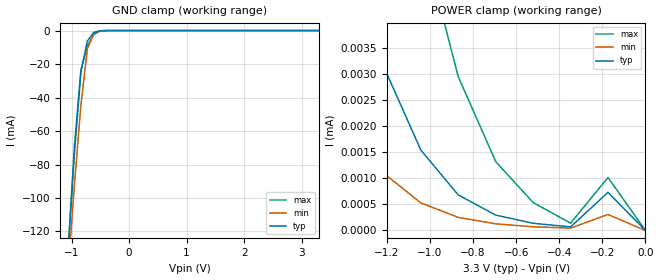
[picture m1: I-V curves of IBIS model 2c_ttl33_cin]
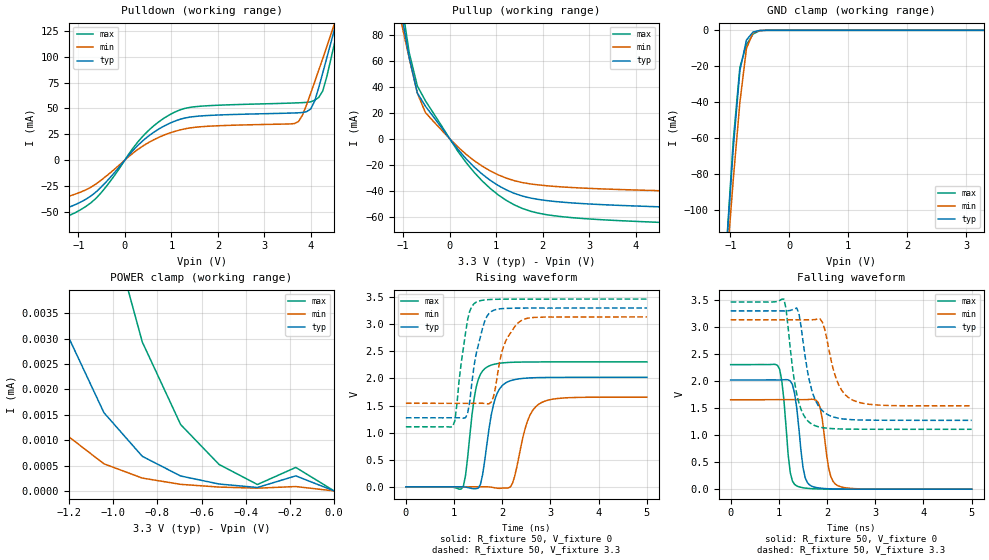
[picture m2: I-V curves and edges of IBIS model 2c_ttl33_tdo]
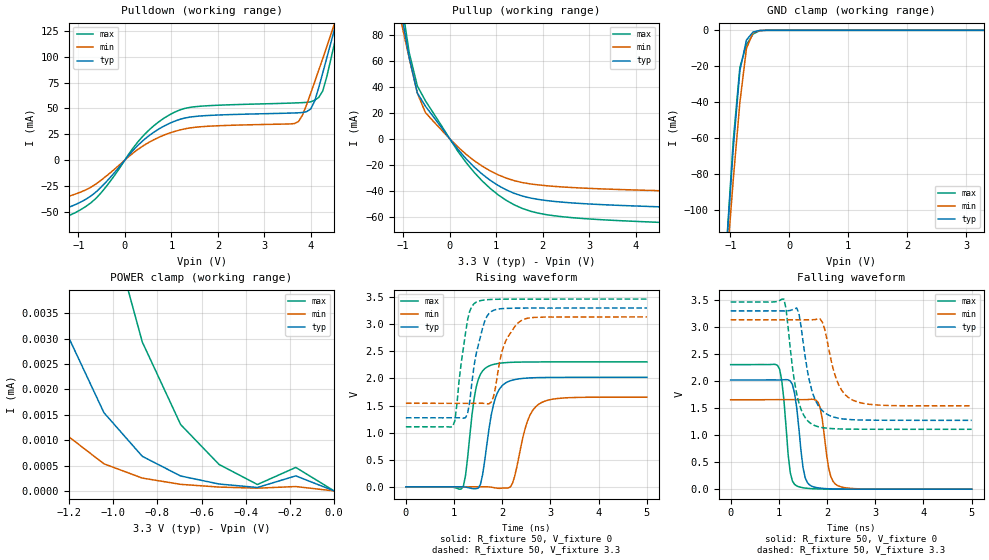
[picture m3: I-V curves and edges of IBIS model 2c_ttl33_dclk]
[IBIS Ver] 3.2
[File Name] modexp.ibs
[File Rev] 1.6
[Date] May 05, 2013
[Source] Altera, Quartus II 32-bit 12.1
[Notes]
| The models are designated as "Final" and have been
| correlated against physical device operation.
Unused IOs which have been assigned as tri-stated inputs or
as outputs driving any signal in Quartus II are represented by the NC.
[Disclaimer] Data is for modeling purposes only and is not guaranteed.
[Copyright] Copyright (C) 1991-2012 Altera Corporation
[Component] EP2C50F484C6_ModExp
[Manufacturer]  Altera Corporation
[Package]
| RLC values are for 484 FBGA package
|variable  typ  min  max
R_pkg  231.00m   125.00m   327.00m
L_pkg  4.00nH   2.50nH   5.32nH
C_pkg  0.73pF   0.53pF   0.92pF
[Pin]  signal_name   model_name   R_pin   L_pin   C_pin
A1   GND   GND
A2   VCCIO3   POWER
A21   VCCIO4   POWER
A22   GND   GND
AA1   VCCIO1   POWER
AA2   GND   GND
AA21   GND   GND
AA22   VCCIO6   POWER
AB1   GND   GND
AB2   VCCIO8   POWER
AB21   VCCIO7   POWER
AB22   GND   GND
B1   VCCIO2   POWER
B2   GND   GND
B21   GND   GND
B22   VCCIO5   POWER
C5   GND   GND
C6   VCCIO3   POWER
C8   GND   GND
C11   VCCIO3   POWER
C12   VCCIO4   POWER
C15   GND   GND
D10   GND   GND
D13   GND   GND
D17   VCCIO4   POWER
D18   GND   GND
E5   VCCD_PLL3   POWER
E6   VCCA_PLL3   POWER
E10   VCCIO3   POWER
E13   VCCIO4   POWER
E16   NC   NC
E17   GND_PLL2   GND
F5   GND_PLL3   GND
F6   GND_PLL3   GND
F7   NC   NC
F16   VCCA_PLL2   POWER
F17   VCCD_PLL2   POWER
F18   GND_PLL2   GND
F19   GND   GND
G4   GND   GND
G7   VCCINT   POWER
G8   VCCINT   POWER
G9   VCCIO3   POWER
G10   GND   GND
G11   GND   GND
G12   VCCINT   POWER
G13   GND   GND
G14   VCCIO4   POWER
G15   GND   GND
G16   VCCINT   POWER
G19   VCCIO5   POWER
H7   VCCINT   POWER
H8   VCCINT   POWER
H9   GND   GND
H10   GND   GND
H11   GND   GND
H12   VCCINT   POWER
H13   VCCINT   POWER
H14   GND   GND
H15   GND   GND
H16   VCCINT   POWER
H20   GND   GND
J7   VCCIO2   POWER
J8   GND   GND
J9   GND   GND
J10   VCCINT   POWER
J11   VCCINT   POWER
J12   VCCINT   POWER
J13   VCCINT   POWER
J14   GND   GND
J15   GND   GND
J16   VCCIO5   POWER
K1   nCE   2c_ttl33_cin
K2   TCK   2c_ttl33_cin
K3   GND   GND
K4   DATA0   2c_ttl33_cin
K5   TDI   2c_ttl33_cin
K6   TMS   2c_ttl33_cin
K7   GND   GND
K8   VCCINT   POWER
K9   VCCINT   POWER
K10   GND   GND
K11   GND   GND
K12   GND   GND
K13   GND   GND
K14   VCCINT   POWER
K15   GND   GND
K16   GND   GND
K19   GND   GND
L3   VCCIO2   POWER
L4   nCONFIG   2c_ttl33_cin
L5   TDO   2c_ttl33_tdo
L6   DCLK   2c_ttl33_dclk
L7   VCCINT   POWER
L8   VCCINT   POWER
L9   VCCINT   POWER
L10   GND   GND
L11   GND   GND
L12   GND   GND
L13   GND   GND
L14   VCCINT   POWER
L15   GND   GND
L16   VCCINT   POWER
L20   VCCIO5   POWER
M1   clk   2c_ttl33_rin
M2   reset   2c_ttl33_rin
M3   VCCIO1   POWER
M4   GND   GND
M5   res_out[29]   2c_ttl33_rio_d24
M6   res_out[8]   2c_ttl33_rio_d24
M7   GND   GND
M8   GND   GND
M9   VCCINT   POWER
M10   GND   GND
M11   GND   GND
M12   GND   GND
M13   GND   GND
M14   VCCINT   POWER
M15   VCCINT   POWER
M16   GND   GND
M17   MSEL0   2c_ttl33_cin
M20   VCCIO6   POWER
N1   res_out[7]   2c_ttl33_rio_d24
N2   res_out[30]   2c_ttl33_rio_d24
N3   res_out[26]   2c_ttl33_rio_d24
N4   res_out[10]   2c_ttl33_rio_d24
N5   res_out[3]   2c_ttl33_rio_d24
N6   res_out[12]   2c_ttl33_rio_d24
N7   GND   GND
N8   GND   GND
N9   VCCINT   POWER
N10   GND   GND
N11   GND   GND
N12   GND   GND
N13   GND   GND
N14   VCCINT   POWER
N15   VCCINT   POWER
N16   GND   GND
N17   MSEL1   2c_ttl33_cin
N18   CONF_DONE   2c_ttl33_cfdone
N19   GND   GND
N20   nSTATUS   2c_ttl33_nstatus
P1   res_out[9]   2c_ttl33_rio_d24
P2   res_out[22]   2c_ttl33_rio_d24
P3   res_out[24]   2c_ttl33_rio_d24
P4   res_out[23]   2c_ttl33_rio_d24
P5   res_out[25]   2c_ttl33_rio_d24
P6   res_out[15]   2c_ttl33_rio_d24
P7   VCCIO1   POWER
P8   GND   GND
P9   GND   GND
P10   VCCINT   POWER
P11   VCCINT   POWER
P12   VCCINT   POWER
P13   VCCINT   POWER
P14   VCCINT   POWER
P15   GND   GND
P16   VCCIO6   POWER
R1   res_out[0]   2c_ttl33_rio_d24
R2   res_out[18]   2c_ttl33_rio_d24
R3   GND   GND
R4   res_out[21]   2c_ttl33_rio_d24
R5   res_out[28]   2c_ttl33_rio_d24
R6   res_out[27]   2c_ttl33_rio_d24
R7   VCCINT   POWER
R8   VCCINT   POWER
R9   GND   GND
R10   VCCINT   POWER
R11   GND   GND
R12   VCCINT   POWER
R13   GND   GND
R14   GND   GND
R15   VCCINT   POWER
R16   VCCINT   POWER
T1   res_out[20]   2c_ttl33_rio_d24
T2   res_out[31]   2c_ttl33_rio_d24
T3   res_out[17]   2c_ttl33_rio_d24
T4   VCCIO1   POWER
T5   res_out[13]   2c_ttl33_rio_d24
T6   res_out[14]   2c_ttl33_rio_d24
T7   VCCINT   POWER
T8   VCCINT   POWER
T9   VCCIO8   POWER
T10   GND   GND
T11   GND   GND
T12   VCCINT   POWER
T13   GND   GND
T14   VCCIO7   POWER
T15   VCCINT   POWER
T16   GND   GND
T17   GND_PLL4   GND
T19   VCCIO6   POWER
T20   GND   GND
U1   res_out[5]   2c_ttl33_rio_d24
U2   res_out[6]   2c_ttl33_rio_d24
U3   res_out[16]   2c_ttl33_rio_d24
U5   GND_PLL1   GND
U6   VCCD_PLL1   POWER
U7   VCCA_PLL1   POWER
U16   VCCA_PLL4   POWER
U17   VCCD_PLL4   POWER
V1   res_out[19]   2c_ttl33_rio_d24
V2   res_out[4]   2c_ttl33_rio_d24
V3   GND   GND
V5   GND_PLL1   GND
V6   GND   GND
V7   NC   NC
V10   VCCIO8   POWER
V13   VCCIO7   POWER
V16   NC   NC
V17   GND   GND
V18   GND_PLL4   GND
W1   res_out[2]   2c_ttl33_rio_d24
W2   res_out[1]   2c_ttl33_rio_d24
W6   VCCIO8   POWER
W10   GND   GND
W13   GND   GND
W17   VCCIO7   POWER
W19   GND   GND
W20   ~LVDS142p/nCEO~   2c_ttl33_nceo
Y1   res_out[11]   2c_ttl33_rio_d24
Y8   GND   GND
Y11   VCCIO8   POWER
Y12   VCCIO7   POWER
Y15   GND   GND
| Models and submodels in the file (8): 2c_ttl33_cin (Input), 2c_ttl33_tdo (Output), 2c_ttl33_dclk (I/O), 2c_ttl33_rin (Input), 2c_ttl33_rio_d24 (I/O), 2c_ttl33_cfdone (I/O_open_drain), 2c_ttl33_nstatus (I/O_open_drain), 2c_ttl33_nceo (Output)
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[Model] 2c_ttl33_cin
Model_type Input
Vinl  = 0.8V
Vinh  = 1.7V
C_comp  3.8pF   NA   NA
[Temperature Range] 25   85   0
[Voltage Range]   3.3   3.135   3.465
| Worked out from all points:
|   GND clamp passes 1 mA (typ) near -0.61 V on its own axis
[GND Clamp]
| voltage   I (typ)   I (min)   I (max)
-3.3V     -1.525A    -1.347A    -1.631A
-1.063V   -132.4mA   -144.4mA   -131.8mA
-950.8mV  -72.91mA   -91.85mA   -68.52mA
-839mV    -25.14mA   -44.53mA   -23.44mA
-727.1mV  -6.162mA   -11.17mA   -9.106mA
-615.2mV  -1.09mA    -1.592mA   -2.362mA
-503.4mV  -85.58uA   -161.1uA   -206uA
-391.5mV  -4.442uA   -9.192uA   -8.484uA
3.3V      11.77nA    322.6nA    -115.7nA
[POWER Clamp]
| voltage   I (typ)   I (min)   I (max)
-3.3V     85.54uA    53.92uA    123.2uA
-1.563V   9.367uA    3.905uA    20.91uA
-1.389V   5.739uA    2.168uA    14.78uA
-1.216V   3.156uA    1.102uA    9.69uA
-1.042V   1.541uA    528.8nA    5.723uA
-868.4mV  681.9nA    251nA      2.949uA
-694.7mV  294.9nA    127.2nA    1.321uA
-521.1mV  137.5nA    71nA       535.5nA
-347.4mV  69.4nA     45.46nA    140.2nA
-173.7mV  730.6nA    306.9nA    1.016uA
0V        0A         0A         0A
[Model] 2c_ttl33_tdo
Model_type Output
Vmeas = 1.5675V
Rref  = 1M
Cref  = 0pF
Vref  = 0V
C_comp  3.8pF   NA   NA
[Temperature Range] 25   85   0
[Voltage Range]   3.3   3.135   3.465
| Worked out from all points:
|   slope of the pulldown table from 0 to 0.495 V, typ, clamps not added: 21.8 ohm
|   slope of the pullup table from 0 to 0.495 V, typ, clamps not added: 24 ohm
|   GND clamp passes 1 mA (typ) near -0.62 V on its own axis
|   rising waveform, R_fixture 50, V_fixture 0: 20-80 % time 227ps typ, 283ps min, 189ps max; typ from 0 V to 2.02 V
|   falling waveform, R_fixture 50, V_fixture 0: 20-80 % time 149ps typ, 155ps min, 135ps max; typ from 2.02 V to 0 V
|   rising waveform, R_fixture 50, V_fixture 3.3: 20-80 % time 243ps typ, 290ps min, 200ps max; typ from 1.27 V to 3.3 V
|   falling waveform, R_fixture 50, V_fixture 3.3: 20-80 % time 265ps typ, 297ps min, 231ps max; typ from 3.3 V to 1.27 V
[GND Clamp]
| voltage   I (typ)   I (min)   I (max)
-3.3V     -1.379A    -1.218A    -1.475A
-1.063V   -119.5mA   -130.7mA   -118.6mA
-950.8mV  -65.61mA   -83.07mA   -61.36mA
-839mV    -22.42mA   -40.22mA   -20.68mA
-727.1mV  -5.406mA   -10.03mA   -7.969mA
-615.2mV  -953.2uA   -1.404mA   -2.067mA
-503.4mV  -74.89uA   -141.3uA   -180.2uA
-391.5mV  -3.887uA   -8.056uA   -7.422uA
3.3V      9.506nA    162.7nA    -15.59nA
[Pulldown]
| voltage   I (typ)   I (min)   I (max)
-3.3V     -55mA      -43.5mA    -62mA
-1.958V   -53.99mA   -41.93mA   -63.1mA
-1.063V   -43.09mA   -32.87mA   -50.85mA
-503.4mV  -25.88mA   -19.22mA   -31.32mA
503.4mV   23.02mA    16.76mA    28.38mA
1.175V    39.25mA    29mA       48.35mA
3.647V    45.56mA    35.32mA    55.23mA
3.995V    49.34mA    64.53mA    56.37mA
4.168V    70.08mA    86.98mA    60.63mA
4.516V    128.1mA    133.1mA    114.8mA
4.603V    142.7mA    144.8mA    132mA
6.6V      483.6mA    425.8mA    528.2mA
[POWER Clamp]
| voltage   I (typ)   I (min)   I (max)
-3.3V     85.54uA    53.94uA    123.1uA
-1.563V   9.367uA    3.921uA    20.9uA
-1.389V   5.741uA    2.184uA    14.76uA
-1.216V   3.156uA    1.117uA    9.675uA
-1.042V   1.542uA    534.4nA    5.706uA
-868.4mV  681.9nA    253.2nA    2.935uA
-694.7mV  294.1nA    129.7nA    1.307uA
-521.1mV  136.2nA    76.02nA    522nA
-347.4mV  67.51nA    54.2nA     126.3nA
-173.7mV  296.7nA    86.25nA    463.4nA
0V        0A         0A         0A
[Pullup]
| voltage   I (typ)   I (min)   I (max)
-3.3V     540.1mA    459.8mA    612.7mA
-1.042V   97.3mA     89.83mA    106.8mA
-868.4mV  62.17mA    61.83mA    66.03mA
-694.7mV  35.17mA    35.1mA     40.62mA
-521.1mV  24.98mA    20.11mA    29.15mA
173.7mV   -8.049mA   -6.256mA   -9.513mA
521.1mV   -21.57mA   -16.74mA   -25.63mA
1.042V    -35.97mA   -27.77mA   -43.16mA
1.563V    -44.12mA   -33.76mA   -53.66mA
2.084V    -47.6mA    -36.2mA    -58.45mA
2.779V    -49.75mA   -37.85mA   -61.17mA
6.6V      -56mA      -43mA      -67.9mA
[Ramp]
dV/dt_r   1.216e+000/2.430e-010  9.558e-001/2.897e-010  1.414e+000/1.999e-010
dV/dt_f   1.216e+000/2.649e-010  9.558e-001/2.971e-010  1.414e+000/2.307e-010
R_load = 50ohms
[Rising Waveform]
R_fixture   = 50
V_fixture   = 0
V_fixture_min = 0
V_fixture_max = 0
| time   V (typ)   V (min)   V (max)
0s        0V         0V         0V
1.193ns   -482.4uV   -145.4uV   12.16mV
1.459ns   -34.32mV   -44.8uV    1.841V
1.592ns   225.3mV    354.7uV    2.139V
1.725ns   1.072V     -1.981mV   2.23V
1.902ns   1.74V      -26.7mV    2.274V
2.168ns   1.957V     -1.629mV   2.297V
2.522ns   2.007V     1.212V     2.303V
2.788ns   2.016V     1.542V     2.305V
5ns       2.02V      1.655V     2.305V
[Falling Waveform]
R_fixture   = 50
V_fixture   = 0
V_fixture_min = 0
V_fixture_max = 0
| time   V (typ)   V (min)   V (max)
0s        2.02V      1.655V     2.305V
1.016ns   2.021V     1.657V     2.219V
1.237ns   2.002V     1.657V     301.8mV
1.37ns    1.506V     1.657V     60.13mV
1.503ns   387.1mV    1.656V     25.91mV
1.68ns    55.56mV    1.664V     9.435mV
1.858ns   19.09mV    1.506V     3.439mV
2.035ns   7.213mV    381.8mV    1.233mV
2.212ns   2.715mV    70mV       428.1uV
5ns       0V         -12.26uV   -1.083uV
[Rising Waveform]
R_fixture   = 50
V_fixture   = 3.3
V_fixture_min = 3.135
V_fixture_max = 3.465
| time   V (typ)   V (min)   V (max)
0s        1.274V     1.542V     1.108V
971.5ps   1.274V     1.541V     1.113V
1.016ns   1.274V     1.541V     1.218V
1.282ns   1.355V     1.541V     3.088V
1.459ns   2.454V     1.541V     3.409V
1.725ns   3.198V     1.533V     3.455V
1.813ns   3.255V     1.649V     3.459V
2.035ns   3.291V     2.613V     3.463V
2.389ns   3.298V     3.066V     3.464V
5ns       3.3V       3.135V     3.465V
[Falling Waveform]
R_fixture   = 50
V_fixture   = 3.3
V_fixture_min = 3.135
V_fixture_max = 3.465
| time   V (typ)   V (min)   V (max)
0s        3.3V       3.135V     3.465V
1.104ns   3.299V     3.135V     3.518V
1.149ns   3.3V       3.135V     3.34V
1.326ns   3.339V     3.135V     1.978V
1.415ns   3.26V      3.134V     1.601V
1.68ns    1.838V     3.135V     1.206V
1.902ns   1.452V     3.091V     1.14V
2.212ns   1.317V     1.99V      1.116V
2.522ns   1.286V     1.653V     1.11V
5ns       1.274V     1.542V     1.108V
[Model] 2c_ttl33_dclk
Model_type I/O
Vinl  = 0.8V
Vinh  = 1.7V
Vmeas = 1.5675V
Rref  = 1M
Cref  = 0pF
Vref  = 0V
C_comp  3.8pF   NA   NA
[Temperature Range] 25   85   0
[Voltage Range]   3.3   3.135   3.465
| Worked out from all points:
|   slope of the pulldown table from 0 to 0.495 V, typ, clamps not added: 21.8 ohm
|   slope of the pullup table from 0 to 0.495 V, typ, clamps not added: 24 ohm
|   GND clamp passes 1 mA (typ) near -0.62 V on its own axis
|   rising waveform, R_fixture 50, V_fixture 0: 20-80 % time 227ps typ, 283ps min, 189ps max; typ from 0 V to 2.02 V
|   falling waveform, R_fixture 50, V_fixture 0: 20-80 % time 149ps typ, 155ps min, 135ps max; typ from 2.02 V to 0 V
|   rising waveform, R_fixture 50, V_fixture 3.3: 20-80 % time 243ps typ, 290ps min, 200ps max; typ from 1.27 V to 3.3 V
|   falling waveform, R_fixture 50, V_fixture 3.3: 20-80 % time 265ps typ, 297ps min, 231ps max; typ from 3.3 V to 1.27 V
[GND Clamp]
| voltage   I (typ)   I (min)   I (max)
-3.3V     -1.379A    -1.218A    -1.475A
-1.063V   -119.5mA   -130.7mA   -118.6mA
-950.8mV  -65.61mA   -83.07mA   -61.36mA
-839mV    -22.42mA   -40.22mA   -20.68mA
-727.1mV  -5.406mA   -10.03mA   -7.969mA
-615.2mV  -953.2uA   -1.404mA   -2.067mA
-503.4mV  -74.89uA   -141.3uA   -180.2uA
-391.5mV  -3.887uA   -8.056uA   -7.422uA
3.3V      9.506nA    162.7nA    -15.59nA
[Pulldown]
| voltage   I (typ)   I (min)   I (max)
-3.3V     -55mA      -43.5mA    -62mA
-1.958V   -53.99mA   -41.93mA   -63.1mA
-1.063V   -43.09mA   -32.87mA   -50.85mA
-503.4mV  -25.88mA   -19.22mA   -31.32mA
503.4mV   23.02mA    16.76mA    28.38mA
1.175V    39.25mA    29mA       48.35mA
3.647V    45.56mA    35.32mA    55.23mA
3.995V    49.34mA    64.53mA    56.37mA
4.168V    70.08mA    86.98mA    60.63mA
4.516V    128.1mA    133.1mA    114.8mA
4.603V    142.7mA    144.8mA    132mA
6.6V      483.6mA    425.8mA    528.2mA
[POWER Clamp]
| voltage   I (typ)   I (min)   I (max)
-3.3V     85.54uA    53.94uA    123.1uA
-1.563V   9.367uA    3.921uA    20.9uA
-1.389V   5.741uA    2.184uA    14.76uA
-1.216V   3.156uA    1.117uA    9.675uA
-1.042V   1.542uA    534.4nA    5.706uA
-868.4mV  681.9nA    253.2nA    2.935uA
-694.7mV  294.1nA    129.7nA    1.307uA
-521.1mV  136.2nA    76.02nA    522nA
-347.4mV  67.51nA    54.2nA     126.3nA
-173.7mV  296.7nA    86.25nA    463.4nA
0V        0A         0A         0A
[Pullup]
| voltage   I (typ)   I (min)   I (max)
-3.3V     540.1mA    459.8mA    612.7mA
-1.042V   97.3mA     89.83mA    106.8mA
-868.4mV  62.17mA    61.83mA    66.03mA
-694.7mV  35.17mA    35.1mA     40.62mA
-521.1mV  24.98mA    20.11mA    29.15mA
173.7mV   -8.049mA   -6.256mA   -9.513mA
521.1mV   -21.57mA   -16.74mA   -25.63mA
1.042V    -35.97mA   -27.77mA   -43.16mA
1.563V    -44.12mA   -33.76mA   -53.66mA
2.084V    -47.6mA    -36.2mA    -58.45mA
2.779V    -49.75mA   -37.85mA   -61.17mA
6.6V      -56mA      -43mA      -67.9mA
[Ramp]
dV/dt_r   1.216e+000/2.430e-010  9.558e-001/2.897e-010  1.414e+000/1.999e-010
dV/dt_f   1.216e+000/2.649e-010  9.558e-001/2.971e-010  1.414e+000/2.307e-010
R_load = 50ohms
[Rising Waveform]
R_fixture   = 50
V_fixture   = 0
V_fixture_min = 0
V_fixture_max = 0
| time   V (typ)   V (min)   V (max)
0s        0V         0V         0V
1.193ns   -482.4uV   -145.4uV   12.16mV
1.459ns   -34.32mV   -44.8uV    1.841V
1.592ns   225.3mV    354.7uV    2.139V
1.725ns   1.072V     -1.981mV   2.23V
1.902ns   1.74V      -26.7mV    2.274V
2.168ns   1.957V     -1.629mV   2.297V
2.522ns   2.007V     1.212V     2.303V
2.788ns   2.016V     1.542V     2.305V
5ns       2.02V      1.655V     2.305V
[Falling Waveform]
R_fixture   = 50
V_fixture   = 0
V_fixture_min = 0
V_fixture_max = 0
| time   V (typ)   V (min)   V (max)
0s        2.02V      1.655V     2.305V
1.016ns   2.021V     1.657V     2.219V
1.237ns   2.002V     1.657V     301.8mV
1.37ns    1.506V     1.657V     60.13mV
1.503ns   387.1mV    1.656V     25.91mV
1.68ns    55.56mV    1.664V     9.435mV
1.858ns   19.09mV    1.506V     3.439mV
2.035ns   7.213mV    381.8mV    1.233mV
2.212ns   2.715mV    70mV       428.1uV
5ns       0V         -12.26uV   -1.083uV
[Rising Waveform]
R_fixture   = 50
V_fixture   = 3.3
V_fixture_min = 3.135
V_fixture_max = 3.465
| time   V (typ)   V (min)   V (max)
0s        1.274V     1.542V     1.108V
971.5ps   1.274V     1.541V     1.113V
1.016ns   1.274V     1.541V     1.218V
1.282ns   1.355V     1.541V     3.088V
1.459ns   2.454V     1.541V     3.409V
1.725ns   3.198V     1.533V     3.455V
1.813ns   3.255V     1.649V     3.459V
2.035ns   3.291V     2.613V     3.463V
2.389ns   3.298V     3.066V     3.464V
5ns       3.3V       3.135V     3.465V
[Falling Waveform]
R_fixture   = 50
V_fixture   = 3.3
V_fixture_min = 3.135
V_fixture_max = 3.465
| time   V (typ)   V (min)   V (max)
0s        3.3V       3.135V     3.465V
1.104ns   3.299V     3.135V     3.518V
1.149ns   3.3V       3.135V     3.34V
1.326ns   3.339V     3.135V     1.978V
1.415ns   3.26V      3.134V     1.601V
1.68ns    1.838V     3.135V     1.206V
1.902ns   1.452V     3.091V     1.14V
2.212ns   1.317V     1.99V      1.116V
2.522ns   1.286V     1.653V     1.11V
5ns       1.274V     1.542V     1.108V
